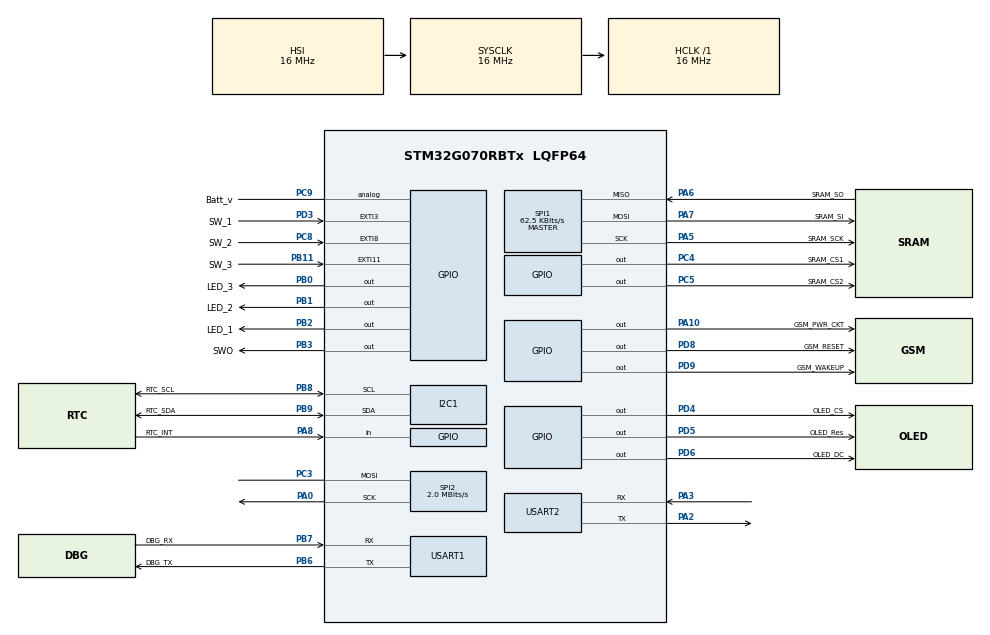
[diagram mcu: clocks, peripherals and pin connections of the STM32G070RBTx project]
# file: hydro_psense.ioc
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Mcu.Family=STM32G0
Mcu.Name=STM32G070RBTx
Mcu.Package=LQFP64
NVIC.SPI1_IRQn=true\:0\:0\:false\:false\:true\:true\:true\:true
PA0.Mode=Simplex_Bidirectional_Master
PA0.Signal=SPI2_SCK
PA10.GPIO_FMPA10=__NULL
PA10.GPIO_Label=GSM_PWR_CKT
PA10.GPIO_PuPd=GPIO_NOPULL
PA10.PinState=GPIO_PIN_SET
PA10.Signal=GPIO_Output
PA13.Mode=Serial_Wire
PA13.Signal=SYS_SWDIO
PA14-BOOT0.Mode=Serial_Wire
PA14-BOOT0.Signal=SYS_SWCLK
PA2.GPIO_ModeDefaultPP=GPIO_MODE_AF_PP
PA2.GPIO_PuPd=GPIO_NOPULL
PA2.GPIO_Speed=GPIO_SPEED_FREQ_LOW
PA2.Mode=Asynchronous
PA2.PinState=GPIO_PIN_RESET
PA2.Signal=USART2_TX
PA3.GPIO_ModeDefaultPP=GPIO_MODE_AF_PP
PA3.GPIO_PuPd=GPIO_NOPULL
PA3.GPIO_Speed=GPIO_SPEED_FREQ_LOW
PA3.Mode=Asynchronous
PA3.PinState=GPIO_PIN_RESET
PA3.Signal=USART2_RX
PA5.GPIO_Label=SRAM_SCK
PA5.Mode=Full_Duplex_Master
PA5.Signal=SPI1_SCK
PA6.GPIO_Label=SRAM_SO
PA6.Mode=Full_Duplex_Master
PA6.Signal=SPI1_MISO
PA7.GPIO_Label=SRAM_SI
PA7.Mode=Full_Duplex_Master
PA7.Signal=SPI1_MOSI
PA8.GPIO_Label=RTC_INT
PA8.Signal=GPIO_Input
PB0.GPIO_Label=LED_3
PB0.PinState=GPIO_PIN_SET
PB0.Signal=GPIO_Output
PB1.GPIO_Label=LED_2
PB1.PinState=GPIO_PIN_RESET
PB1.Signal=GPIO_Output
PB11.GPIO_Label=SW_3
PB11.Signal=GPXTI11
PB2.GPIO_Label=LED_1
PB2.PinState=GPIO_PIN_RESET
PB2.Signal=GPIO_Output
PB3.GPIO_Label=SWO
PB3.Signal=GPIO_Output
PB6.GPIO_Label=DBG_TX
PB6.Mode=Asynchronous
PB6.Signal=USART1_TX
PB7.GPIO_Label=DBG_RX
PB7.Mode=Asynchronous
PB7.Signal=USART1_RX
PB8.GPIO_Label=RTC_SCL
PB8.Mode=I2C
PB8.Signal=I2C1_SCL
PB9.GPIO_Label=RTC_SDA
PB9.Mode=I2C
PB9.Signal=I2C1_SDA
PC14-OSC32_IN\ (PC14).Signal=RCC_OSC32_IN
PC3.Mode=Simplex_Bidirectional_Master
PC3.Signal=SPI2_MOSI
PC4.GPIO_Label=SRAM_CS1
PC4.Signal=GPIO_Output
PC5.GPIO_Label=SRAM_CS2
PC5.Signal=GPIO_Output
PC8.GPIO_Label=SW_2
PC8.Signal=GPXTI8
PC9.GPIO_Label=Batt_v
PC9.Signal=GPIO_Analog
PD3.GPIO_Label=SW_1
PD3.Signal=GPXTI3
PD4.GPIO_Label=OLED_CS
PD4.Signal=GPIO_Output
PD5.GPIO_Label=OLED_Res
PD5.Signal=GPIO_Output
PD6.GPIO_Label=OLED_DC
PD6.Signal=GPIO_Output
PD8.GPIO_Label=GSM_RESET
PD8.PinState=GPIO_PIN_SET
PD8.Signal=GPIO_Output
PD9.GPIO_Label=GSM_WAKEUP
PD9.PinState=GPIO_PIN_SET
PD9.Signal=GPIO_Output
PF0-OSC_IN\ (PF0).Mode=HSE-External-Oscillator
PF0-OSC_IN\ (PF0).Signal=RCC_OSC_IN
PF1-OSC_OUT\ (PF1).Mode=HSE-External-Oscillator
PF1-OSC_OUT\ (PF1).Signal=RCC_OSC_OUT
ProjectManager.HeapSize=0x200
ProjectManager.StackSize=0x400
ProjectManager.TargetToolchain=STM32CubeIDE
RCC.AHBFreq_Value=16000000
RCC.CortexFreq_Value=16000000
RCC.EXTERNAL_CLOCK_VALUE=48000
RCC.HCLKFreq_Value=16000000
RCC.HSE_VALUE=8000000
RCC.HSI_VALUE=16000000
RCC.LSE_VALUE=32768
RCC.SYSCLKFreq_VALUE=16000000
RCC.VCOOutputFreq_Value=128000000
SPI1.BaudRatePrescaler=SPI_BAUDRATEPRESCALER_256
SPI1.CalculateBaudRate=62.5 KBits/s
SPI1.DataSize=SPI_DATASIZE_8BIT
SPI1.Direction=SPI_DIRECTION_2LINES
SPI1.Mode=SPI_MODE_MASTER
SPI1.NSSPMode=SPI_NSS_PULSE_DISABLE
SPI1.VirtualType=VM_MASTER
SPI2.BaudRatePrescaler=SPI_BAUDRATEPRESCALER_8
SPI2.CalculateBaudRate=2.0 MBits/s
SPI2.DataSize=SPI_DATASIZE_8BIT
SPI2.Direction=SPI_DIRECTION_1LINE
SPI2.Mode=SPI_MODE_MASTER
SPI2.VirtualType=VM_MASTER
USART1.VirtualMode-Asynchronous=VM_ASYNC
USART2.VirtualMode-Asynchronous=VM_ASYNC
VP_SYS_VS_DBSignals.Mode=DisableDeadBatterySignals
board=custom

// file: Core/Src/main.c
/* USER CODE BEGIN Header */
/**
  ******************************************************************************
  * @file           : main.c
  * @brief          : Main program body
  ******************************************************************************
  * @attention
  *
  * Copyright (c) 2024 STMicroelectronics.
  * All rights reserved.
  *
  * This software is licensed under terms that can be found in the LICENSE file
  * in the root directory of this software component.
  * If no LICENSE file comes with this software, it is provided AS-IS.
  *
  ******************************************************************************
  */
/* USER CODE END Header */
#include "main.h"

/* USER CODE BEGIN Includes */
#include <stdlib.h>
#include <stdio.h>
#include "string.h"
#include "ssd1306.h"
#include "ssd1306_tests.h"
#include "ssd1306_conf.h"
#include "ssd1306_fonts.h"
#include <stdlib.h> // For itoa function
#include "Bitmap.h";
/* USER CODE END Includes */

/* USER CODE BEGIN PD */
#define MAX_MQTT_RSP_LENGTH 500 // bytes
/* MPM3801A I2C address */
//#define MPM3801A_ADDRESS 0x28
#define DS3231_ADDRESS 0x68 << 1

/* USER CODE END PD */

I2C_HandleTypeDef hi2c1;

SPI_HandleTypeDef hspi1;
SPI_HandleTypeDef hspi2;

UART_HandleTypeDef huart1;
UART_HandleTypeDef huart2;

/* USER CODE BEGIN PV */
volatile unsigned int rx_buf_indx = 0;
volatile char ch = '\0';
volatile char rx_buf[MAX_MQTT_RSP_LENGTH] = {'\0'};

uint8_t time_data[7];
uint16_t pressure = 0;

//Temp value
char units[]="Units";
char bar[]="-> 1)Bar";
char psi[]="   2)PSI";
char kg[]= "   3)Kg/cm";
char sq[]=    "2";
char hmode[]="Mode";
char hmode1[]="-> 1)Auto";
char hmode2[]="   2)Manual";
char tank[]= "Equipment No. = 12354684116";

// AT Commands
uint8_t AT[] = "AT\r";
uint8_t ATE[] = "ATE1\r";
uint8_t ATQ[] = "ATQ0\r";
uint8_t ATI[] = "ATI\r";
uint8_t SET_AT_CREG[] = "AT+CREG=1\r";
uint8_t GET_AT_CREG[] = "AT+CREG?\r";
//uint8_t SET_AT_CGACT[] = "AT+CGACT=1\r";  // NOTE: Sending this returns CME ERROR: 129
uint8_t GET_AT_CGACT[] = "AT+CGACT?\r";
uint8_t *SET_AT_HUBBLEREG = "";
uint8_t GET_AT_HUBBLEREG[] = "AT+HUBBLEREG?\r";
//uint8_t *AT_MQTTCREATE = "";
//uint8_t AT_MQTTCREATE[] = "AT+MQTTCREATE=\"broker.mqtt.cool\",1883,\"DEF_DEVICE\",250,0,0\r";
uint8_t AT_MQTTCREATE[100];
//uint8_t *AT_MQTTCONN = "";
uint8_t AT_MQTTCONN[50];

// Variable related to MQTT connections
const char *mqtt_broker = "broker.mqtt.cool";
const unsigned short int mqtt_port = 1883;
//const char *device_id = "DEF_DEVICE";
const char *device_id = "TEST0";

unsigned short int mqtt_client_id = 0;     // this will be auto assigned and can be parsed from the response of AT+CGACT?
const char *mqtt_username  = "";
const char *mqtt_password  = "";

const char *hubble_account_id  = "";
const char *hubble_plan_id  = "";

char *tmp_ptr, *tmp_ptr2;
char conn_id[10];

unsigned int num;

// SRAM Variables
//uint8_t SRAM_READ  = 0x03;
//uint8_t SRAM_WRITE = 0x02;
//uint8_t RDMR_SRAM[2]  = {0x05, 0x0};
//uint8_t WRMR_SRAM  = 0x01;
//uint8_t SRAM_ReadData[260] = {0x03, 0x00, 0x00, 0x00};		// 1st index = command to read. 2nd, 3rd and 4th forms 24bit long address
//uint8_t SRAM_WriteData[260] = {0x02, 0x00, 0x00, 0x00};		// 1st index = command to write. 2nd, 3rd and 4th forms 24bit long address

/* USER CODE END PV */

void SystemClock_Config(void);
static void MX_GPIO_Init(void);
static void MX_I2C1_Init(void);
static void MX_SPI1_Init(void);
static void MX_USART1_UART_Init(void);
static void MX_USART2_UART_Init(void);
static void MX_SPI2_Init(void);
/* USER CODE BEGIN PFP */
void Read_RTC_Time(I2C_HandleTypeDef *hi2c1, uint8_t *data);
void ConvertToReadableTime(uint8_t* buffer);
//void Read_Pressure_Sensor(I2C_HandleTypeDef *hi2c1, uint16_t *pressure);

void LTE_c16qs_Init();
void LTE_c16qs_Reset();
void LTE_c16qs_TurnOff();

signed short int connect_mqtt_network(char *host, unsigned short int port, char *client_id, unsigned short int keep_alive);

/* USER CODE END PFP */

/* USER CODE BEGIN 0 */
/* USER CODE BEGIN 0 */
void HAL_UART_RxCpltCallback(UART_HandleTypeDef *huart){
	if(huart->Instance == USART2){
		rx_buf[rx_buf_indx] = ch;
		rx_buf_indx++;

		/*if(rx_buf_indx >= MAX_MQTT_RSP_LENGTH-1){
			HAL_UART_Transmit(&huart1,(uint8_t *)rx_buf, sizeof(rx_buf), 100);
			memset(rx_buf, 0, sizeof(rx_buf));
			rx_buf_indx = 0;
		}*/
		HAL_UART_Receive_IT(&huart2, (uint8_t*)&ch, 1);
	}
}

// MQTT Functions
signed short int connect_mqtt_network(char *host, unsigned short int port, char *client_id, unsigned short int keep_alive){
		memset(rx_buf, '\0', sizeof(rx_buf));
		rx_buf_indx = 0;

		HAL_UART_Transmit(&huart1,(uint8_t *)ATE, sizeof(ATE), 10);  // In PROTO, AT commands should be sent on huart2
		//while(!strstr(buf, "OK") || !strstr(buf, "ERROR")){}
		while(!strstr(rx_buf, "OK\r\n")){}
		//while(!strstr(buf, "OK")){}
		HAL_UART_Transmit(&huart2,(uint8_t *)rx_buf, strlen(rx_buf), 10);    // In PROTO, this should be sent on huart1 = DBG_UART. if required

		memset(rx_buf, '\0', sizeof(rx_buf));
		rx_buf_indx = 0;
		//HAL_UART_Transmit(&huart2,(uint8_t *)ATQ, sizeof(ATI), 10);  // In PROTO, AT commands should be sent on huart2
		HAL_UART_Transmit(&huart1,(uint8_t *)ATQ, sizeof(ATI), 10);  // In PROTO, AT commands should be sent on huart2
		//while(!strstr(buf, "OK") || !strstr(buf, "ERROR")){}
		while(!strstr(rx_buf, "OK\r\n")){}
		//while(!strstr(buf, "OK")){}
		HAL_UART_Transmit(&huart2,(uint8_t *)rx_buf, strlen(rx_buf), 10);    // In PROTO, this should be sent on huart1 = DBG_UART. if required

		memset(rx_buf, '\0', sizeof(rx_buf));
		rx_buf_indx = 0;
		//HAL_UART_Transmit(&huart2,(uint8_t *)ATI, sizeof(ATQ), 10);  // In PROTO, AT commands should be sent on huart2
		HAL_UART_Transmit(&huart1,(uint8_t *)ATI, sizeof(ATQ), 10);  // In PROTO, AT commands should be sent on huart2
		//while(!strstr(buf, "OK") || !strstr(buf, "ERROR")){}
		while(!strstr(rx_buf, "OK\r\n")){}
		//while(!strstr(buf, "OK")){}
		HAL_UART_Transmit(&huart2,(uint8_t *)rx_buf, strlen(rx_buf), 100);    // In PROTO, this should be sent on huart1 = DBG_UART. if required

		memset(rx_buf, '\0', sizeof(rx_buf));
		rx_buf_indx = 0;
		HAL_UART_Transmit(&huart1,(uint8_t *)SET_AT_CREG, sizeof(SET_AT_CREG), 10);  // In PROTO, AT commands should be sent on huart2
		while(!(strstr(rx_buf, "OK\r\n") || strstr(rx_buf, "ERROR\r\n"))){}
		if(strstr(rx_buf, "ERROR\r\n")){
			HAL_UART_Transmit(&huart2,(uint8_t *)rx_buf, strlen(rx_buf), 10);
			return -1;
		}
		HAL_UART_Transmit(&huart2,(uint8_t *)rx_buf, strlen(rx_buf), 10);

		// get AT+CREG? and compare response with expectations  // TODO: what are the expectations?
		memset(rx_buf, '\0', sizeof(rx_buf));
		rx_buf_indx = 0;
		HAL_UART_Transmit(&huart1,(uint8_t *)GET_AT_CREG, strlen(GET_AT_CREG), 10);  // In PROTO, AT commands should be sent on huart2
		while(!(strstr(rx_buf, "OK\r\n") || strstr(rx_buf, "ERROR\r\n"))){}
		if(strstr(rx_buf, "ERROR\r\n")){
			HAL_UART_Transmit(&huart2,(uint8_t *)rx_buf, strlen(rx_buf), 10);
			return -1;
		}
		HAL_UART_Transmit(&huart2,(uint8_t *)rx_buf, strlen(rx_buf), 100);

		// get AT+CGACT? and check that the 'state' = 1 active)
		memset(rx_buf, '\0', sizeof(rx_buf));
		rx_buf_indx = 0;
		HAL_UART_Transmit(&huart1,(uint8_t *)GET_AT_CGACT, sizeof(GET_AT_CGACT), 100);  // In PROTO, AT commands should be sent on huart2
		while(!(strstr(rx_buf, "OK\r\n") || strstr(rx_buf, "ERROR\r\n"))){}
		if(strstr(rx_buf, "ERROR\r\n")){
			HAL_UART_Transmit(&huart2,(uint8_t *)rx_buf, strlen(rx_buf), 100);
			return -1;
		}
		HAL_UART_Transmit(&huart2,(uint8_t *)rx_buf, strlen(rx_buf), 100);

		// get AT+HUBBLEREG?
		memset(rx_buf, '\0', sizeof(rx_buf));
		rx_buf_indx = 0;
		HAL_UART_Transmit(&huart1,(uint8_t *)GET_AT_HUBBLEREG, sizeof(GET_AT_HUBBLEREG), 100);  // In PROTO, AT commands should be sent on huart2
		while(!(strstr(rx_buf, "OK\r\n") || strstr(rx_buf, "ERROR\r\n"))){}
		if(strstr(rx_buf, "ERROR\r\n") || strstr(rx_buf, "UNREGISTERED")){
			HAL_UART_Transmit(&huart2,(uint8_t *)rx_buf, strlen(rx_buf), 100);
			return -1;
		}
		HAL_UART_Transmit(&huart2,(uint8_t *)rx_buf, strlen(rx_buf), 100);

		// set AT+MQTTCREATE
		memset(rx_buf, '\0', sizeof(rx_buf));
		rx_buf_indx = 0;
		sprintf(AT_MQTTCREATE, "AT+MQTTCREATE=\"%s\",%0d,\"%s\",%0d,0,0\r", mqtt_broker, mqtt_port, device_id, 250);
		//strcpy(AT_MQTTCREATE, "AT+MQTTCREATE=\"broker.mqtt.cool\",1883,\"DEF_DEVICE\",250,0,0\r");
		//HAL_UART_Transmit(&huart2,(uint8_t *)AT_MQTTCREATE, sizeof(AT_MQTTCREATE), 200);
		HAL_UART_Transmit(&huart1,(uint8_t *)AT_MQTTCREATE, sizeof(AT_MQTTCREATE), 100);
		while(!(strstr(rx_buf, "OK\r\n") || strstr(rx_buf, "ERROR\r\n"))){}
		if(strstr(rx_buf, "ERROR\r\n")){
			HAL_UART_Transmit(&huart2,(uint8_t *)rx_buf, strlen(rx_buf), 100);
			return -1;
		}
		HAL_UART_Transmit(&huart2,(uint8_t *)rx_buf, strlen(rx_buf), 100);

		tmp_ptr = strrchr(rx_buf, ':');
		HAL_UART_Transmit(&huart2,(uint8_t *)tmp_ptr, strlen(tmp_ptr), 100);

		tmp_ptr2 = strchr(rx_buf, ':');
		HAL_UART_Transmit(&huart2,(uint8_t *)tmp_ptr2, strlen(tmp_ptr2), 100);

		strncpy(conn_id, tmp_ptr2+2, 1);  // TODO: may need to update this logic, so that it can parse longer digits od client_id also
		conn_id[1] = '\0';
		HAL_UART_Transmit(&huart2,(uint8_t *)conn_id, strlen(conn_id), 100);

		mqtt_client_id = atoi(conn_id);

		// AT+MQTTCONN
		memset(rx_buf, '\0', sizeof(rx_buf));
		rx_buf_indx = 0;
		sprintf(AT_MQTTCONN, "AT+MQTTCONN=%d\r", mqtt_client_id);
		//HAL_UART_Transmit(&huart2,(uint8_t *)AT_MQTTCONN, sizeof(AT_MQTTCONN), 100);
		HAL_UART_Transmit(&huart1,(uint8_t *)AT_MQTTCONN, strlen(AT_MQTTCONN), 100);
		while(!(strstr(rx_buf, "OK\r\n") || strstr(rx_buf, "ERROR\r\n"))){}
		if(strstr(rx_buf, "ERROR\r\n")){
			HAL_UART_Transmit(&huart2,(uint8_t *)rx_buf, strlen(rx_buf), 100);
			return -1;
		}
		HAL_UART_Transmit(&huart2,(uint8_t *)rx_buf, strlen(rx_buf), 100);
		if(strstr(rx_buf, "CONNECTED")){
			return 1;
		}
		else{
			return 0;
		}
}

/* USER CODE END 0 */

int main(void)
{

  /* MCU Configuration--------------------------------------------------------*/

  /* Reset of all peripherals, Initializes the Flash interface and the Systick. */
  HAL_Init();

  /* Configure the system clock */
  SystemClock_Config();

  /* Initialize all configured peripherals */
  MX_GPIO_Init();
  MX_I2C1_Init();
  MX_SPI1_Init();
  MX_USART1_UART_Init();
  MX_USART2_UART_Init();
  MX_SPI2_Init();
  /* USER CODE BEGIN 2 */

  HAL_UART_Receive_IT(&huart2, (uint8_t*)&ch, 1);
  strcpy(rx_buf, "starting...\r\n");
  HAL_UART_Transmit(&huart1,(uint8_t *)rx_buf, strlen(rx_buf), 100);

  // Initialize Cavli Module
  //LTE_c16qs_Init();
  GSM_Init();
   // Send AT command
      GSM_SendCommand("ATE1\r\n");
      HAL_Delay(1000);  // Delay for 1 second
      GSM_ReadResponse();
      GSM_SendCommand("AT\r\n");
      HAL_Delay(1000);  // Delay for 1 second
      GSM_ReadResponse();
      GSM_SendCommand("AT+CIMI\r\n");
      HAL_Delay(1000);  // Delay for 1 second
      GSM_ReadResponse();

/*
  // Reading RDMR from SRAM1 //
  HAL_GPIO_WritePin(SRAM_CS1_GPIO_Port, SRAM_CS1_Pin, GPIO_PIN_SET);	// Setting the NSS Pin High, by default (NSS Pin is Active Low)
  HAL_GPIO_WritePin(SRAM_CS1_GPIO_Port, SRAM_CS1_Pin, GPIO_PIN_RESET);	// Pull the NSS Pin Low, to start SPI Communication
  HAL_SPI_Receive(&hspi1, RDMR_SRAM, sizeof(RDMR_SRAM), 20);
  HAL_GPIO_WritePin(SRAM_CS1_GPIO_Port, SRAM_CS1_Pin, GPIO_PIN_SET);	// Push the NSS Pin High, to stop SPI Communication
  HAL_Delay(100);

  for(int i=4; i<260; i++){
	  SRAM_WriteData[i] = i-4; // storing 256Bytes into an array. This will be used later to Write an entire page
  }

  HAL_GPIO_WritePin(SRAM_CS1_GPIO_Port, SRAM_CS1_Pin, GPIO_PIN_RESET);	// Pull the NSS Pin Low, to start SPI Communication
  HAL_SPI_Transmit(&hspi1, SRAM_WriteData, sizeof(SRAM_WriteData)-4, 200);
  HAL_GPIO_WritePin(SRAM_CS1_GPIO_Port, SRAM_CS1_Pin, GPIO_PIN_SET);	// Push the NSS Pin High, to stop SPI Communication
  HAL_Delay(5000);

  for(int i=4; i<260; i++){
	  SRAM_ReadData[i] = 0xff; // storing 256Bytes into an array. This will be used later to Write an entire page
  }

  HAL_GPIO_WritePin(SRAM_CS1_GPIO_Port, SRAM_CS1_Pin, GPIO_PIN_RESET);	// Pull the NSS Pin Low, to start SPI Communication
  HAL_SPI_Receive(&hspi1, SRAM_ReadData, sizeof(SRAM_ReadData)-4, 200);
  HAL_GPIO_WritePin(SRAM_CS1_GPIO_Port, SRAM_CS1_Pin, GPIO_PIN_SET);	// Push the NSS Pin High, to stop SPI Communication
  HAL_Delay(5000);
*/
  // SRAM TEST
  uint8_t write_data[] = {0x11, 0x22, 0x33, 0x44};
  uint8_t read_data[4];

  SRAM_Write(0x000000, write_data, sizeof(write_data));
  SRAM_Read(0x000000, read_data, sizeof(read_data));

  ssd1306_Init();
  ssd1306_DrawRectangle(0,0,127,63,White);

  ssd1306_SetCursor(47, 3);
  ssd1306_WriteString(units,Font_6x8, White);
  ssd1306_Line(1, 11, 127, 11, White);			//LINE And Box

  ssd1306_SetCursor(3, 14);                     //Bar
  ssd1306_WriteString(bar,Font_6x8, White);

  ssd1306_SetCursor(3, 24);                     //PSI
  ssd1306_WriteString(psi,Font_6x8, White);

  ssd1306_SetCursor(4, 34);                     //Kg/cm2
  ssd1306_WriteString(kg,Font_6x8, White);

  ssd1306_DrawPixel(63,33, White);

  ssd1306_SetCursor(63, 30);                     //Square
  ssd1306_WriteString(sq,Font_6x8, White);

  ssd1306_UpdateScreen();

  // power on Cavli Module
  //HAL_GPIO_WritePin(GPIOA, GSM_PWR_CKT_Pin, GPIO_PIN_SET);   // Enable for PROTO
/*
  if(connect_mqtt_network(mqtt_broker, mqtt_port, device_id, 250) == 1){
	  HAL_UART_Transmit(&huart2,(uint8_t *)"Network Connected", strlen("Network Connected"), 100);
  }
  else{
	  HAL_UART_Transmit(&huart2,(uint8_t *)"No Network Connection", strlen("No Network Connection"), 100);
  }
*/

  /* USER CODE END 2 */

  /* Infinite loop */
  /* USER CODE BEGIN WHILE */
  while (1)
  {
	  Read_RTC_Time(&hi2c1, &time_data);
	  ConvertToReadableTime(time_data);
	  Read_Pressure_Sensor(&hi2c1, &pressure);
	  HAL_Delay(1000);

    /* USER CODE END WHILE */

  }
}

void SystemClock_Config(void)
{
  RCC_OscInitTypeDef RCC_OscInitStruct = {0};
  RCC_ClkInitTypeDef RCC_ClkInitStruct = {0};

  /** Configure the main internal regulator output voltage
  */
  HAL_PWREx_ControlVoltageScaling(PWR_REGULATOR_VOLTAGE_SCALE1);

  /** Initializes the RCC Oscillators according to the specified parameters
  * in the RCC_OscInitTypeDef structure.
  */
  RCC_OscInitStruct.OscillatorType = RCC_OSCILLATORTYPE_HSI;
  RCC_OscInitStruct.HSIState = RCC_HSI_ON;
  RCC_OscInitStruct.HSIDiv = RCC_HSI_DIV1;
  RCC_OscInitStruct.HSICalibrationValue = RCC_HSICALIBRATION_DEFAULT;
  RCC_OscInitStruct.PLL.PLLState = RCC_PLL_NONE;
  if (HAL_RCC_OscConfig(&RCC_OscInitStruct) != HAL_OK)
  {
    Error_Handler();
  }

  /** Initializes the CPU, AHB and APB buses clocks
  */
  RCC_ClkInitStruct.ClockType = RCC_CLOCKTYPE_HCLK|RCC_CLOCKTYPE_SYSCLK
                              |RCC_CLOCKTYPE_PCLK1;
  RCC_ClkInitStruct.SYSCLKSource = RCC_SYSCLKSOURCE_HSI;
  RCC_ClkInitStruct.AHBCLKDivider = RCC_SYSCLK_DIV1;
  RCC_ClkInitStruct.APB1CLKDivider = RCC_HCLK_DIV1;

  if (HAL_RCC_ClockConfig(&RCC_ClkInitStruct, FLASH_LATENCY_0) != HAL_OK)
  {
    Error_Handler();
  }
}

static void MX_I2C1_Init(void)
{

  hi2c1.Instance = I2C1;
  hi2c1.Init.Timing = 0x00303D5B;
  hi2c1.Init.OwnAddress1 = 0;
  hi2c1.Init.AddressingMode = I2C_ADDRESSINGMODE_7BIT;
  hi2c1.Init.DualAddressMode = I2C_DUALADDRESS_DISABLE;
  hi2c1.Init.OwnAddress2 = 0;
  hi2c1.Init.OwnAddress2Masks = I2C_OA2_NOMASK;
  hi2c1.Init.GeneralCallMode = I2C_GENERALCALL_DISABLE;
  hi2c1.Init.NoStretchMode = I2C_NOSTRETCH_DISABLE;
  if (HAL_I2C_Init(&hi2c1) != HAL_OK)
  {
    Error_Handler();
  }

  /** Configure Analogue filter
  */
  if (HAL_I2CEx_ConfigAnalogFilter(&hi2c1, I2C_ANALOGFILTER_ENABLE) != HAL_OK)
  {
    Error_Handler();
  }

  /** Configure Digital filter
  */
  if (HAL_I2CEx_ConfigDigitalFilter(&hi2c1, 0) != HAL_OK)
  {
    Error_Handler();
  }

}

static void MX_SPI1_Init(void)
{

  /* SPI1 parameter configuration*/
  hspi1.Instance = SPI1;
  hspi1.Init.Mode = SPI_MODE_MASTER;
  hspi1.Init.Direction = SPI_DIRECTION_2LINES;
  hspi1.Init.DataSize = SPI_DATASIZE_8BIT;
  hspi1.Init.CLKPolarity = SPI_POLARITY_LOW;
  hspi1.Init.CLKPhase = SPI_PHASE_1EDGE;
  hspi1.Init.NSS = SPI_NSS_SOFT;
  hspi1.Init.BaudRatePrescaler = SPI_BAUDRATEPRESCALER_256;
  hspi1.Init.FirstBit = SPI_FIRSTBIT_MSB;
  hspi1.Init.TIMode = SPI_TIMODE_DISABLE;
  hspi1.Init.CRCCalculation = SPI_CRCCALCULATION_DISABLE;
  hspi1.Init.CRCPolynomial = 7;
  hspi1.Init.CRCLength = SPI_CRC_LENGTH_DATASIZE;
  hspi1.Init.NSSPMode = SPI_NSS_PULSE_DISABLE;
  if (HAL_SPI_Init(&hspi1) != HAL_OK)
  {
    Error_Handler();
  }

}

static void MX_SPI2_Init(void)
{

  /* SPI2 parameter configuration*/
  hspi2.Instance = SPI2;
  hspi2.Init.Mode = SPI_MODE_MASTER;
  hspi2.Init.Direction = SPI_DIRECTION_1LINE;
  hspi2.Init.DataSize = SPI_DATASIZE_8BIT;
  hspi2.Init.CLKPolarity = SPI_POLARITY_LOW;
  hspi2.Init.CLKPhase = SPI_PHASE_1EDGE;
  hspi2.Init.NSS = SPI_NSS_SOFT;
  hspi2.Init.BaudRatePrescaler = SPI_BAUDRATEPRESCALER_8;
  hspi2.Init.FirstBit = SPI_FIRSTBIT_MSB;
  hspi2.Init.TIMode = SPI_TIMODE_DISABLE;
  hspi2.Init.CRCCalculation = SPI_CRCCALCULATION_DISABLE;
  hspi2.Init.CRCPolynomial = 7;
  hspi2.Init.CRCLength = SPI_CRC_LENGTH_DATASIZE;
  hspi2.Init.NSSPMode = SPI_NSS_PULSE_ENABLE;
  if (HAL_SPI_Init(&hspi2) != HAL_OK)
  {
    Error_Handler();
  }

}

static void MX_USART1_UART_Init(void)
{

  huart1.Instance = USART1;
  huart1.Init.BaudRate = 115200;
  huart1.Init.WordLength = UART_WORDLENGTH_8B;
  huart1.Init.StopBits = UART_STOPBITS_1;
  huart1.Init.Parity = UART_PARITY_NONE;
  huart1.Init.Mode = UART_MODE_TX_RX;
  huart1.Init.HwFlowCtl = UART_HWCONTROL_NONE;
  huart1.Init.OverSampling = UART_OVERSAMPLING_16;
  huart1.Init.OneBitSampling = UART_ONE_BIT_SAMPLE_DISABLE;
  huart1.Init.ClockPrescaler = UART_PRESCALER_DIV1;
  huart1.AdvancedInit.AdvFeatureInit = UART_ADVFEATURE_NO_INIT;
  if (HAL_UART_Init(&huart1) != HAL_OK)
  {
    Error_Handler();
  }
  if (HAL_UARTEx_SetTxFifoThreshold(&huart1, UART_TXFIFO_THRESHOLD_1_8) != HAL_OK)
  {
    Error_Handler();
  }
  if (HAL_UARTEx_SetRxFifoThreshold(&huart1, UART_RXFIFO_THRESHOLD_1_8) != HAL_OK)
  {
    Error_Handler();
  }
  if (HAL_UARTEx_DisableFifoMode(&huart1) != HAL_OK)
  {
    Error_Handler();
  }

}

static void MX_USART2_UART_Init(void)
{

  huart2.Instance = USART2;
  huart2.Init.BaudRate = 115200;
  huart2.Init.WordLength = UART_WORDLENGTH_8B;
  huart2.Init.StopBits = UART_STOPBITS_1;
  huart2.Init.Parity = UART_PARITY_NONE;
  huart2.Init.Mode = UART_MODE_TX_RX;
  huart2.Init.HwFlowCtl = UART_HWCONTROL_NONE;
  huart2.Init.OverSampling = UART_OVERSAMPLING_16;
  huart2.Init.OneBitSampling = UART_ONE_BIT_SAMPLE_DISABLE;
  huart2.Init.ClockPrescaler = UART_PRESCALER_DIV1;
  huart2.AdvancedInit.AdvFeatureInit = UART_ADVFEATURE_NO_INIT;
  if (HAL_UART_Init(&huart2) != HAL_OK)
  {
    Error_Handler();
  }
  if (HAL_UARTEx_SetTxFifoThreshold(&huart2, UART_TXFIFO_THRESHOLD_1_8) != HAL_OK)
  {
    Error_Handler();
  }
  if (HAL_UARTEx_SetRxFifoThreshold(&huart2, UART_RXFIFO_THRESHOLD_1_8) != HAL_OK)
  {
    Error_Handler();
  }
  if (HAL_UARTEx_DisableFifoMode(&huart2) != HAL_OK)
  {
    Error_Handler();
  }

}

static void MX_GPIO_Init(void)
{
  GPIO_InitTypeDef GPIO_InitStruct = {0};

  /* GPIO Ports Clock Enable */
  __HAL_RCC_GPIOC_CLK_ENABLE();
  __HAL_RCC_GPIOF_CLK_ENABLE();
  __HAL_RCC_GPIOA_CLK_ENABLE();
  __HAL_RCC_GPIOB_CLK_ENABLE();
  __HAL_RCC_GPIOD_CLK_ENABLE();

  /*Configure GPIO pin Output Level */
  HAL_GPIO_WritePin(GPIOC, SRAM_CS1_Pin|SRAM_CS2_Pin, GPIO_PIN_RESET);

  /*Configure GPIO pin Output Level */
  HAL_GPIO_WritePin(LED_3_GPIO_Port, LED_3_Pin, GPIO_PIN_SET);

  /*Configure GPIO pin Output Level */
  HAL_GPIO_WritePin(GPIOB, LED_2_Pin|LED_1_Pin|SWO_Pin, GPIO_PIN_RESET);

  /*Configure GPIO pin Output Level */
  HAL_GPIO_WritePin(GPIOD, GSM_RESET_Pin|GSM_WAKEUP_Pin, GPIO_PIN_SET);

  /*Configure GPIO pin Output Level */
  HAL_GPIO_WritePin(GSM_PWR_CKT_GPIO_Port, GSM_PWR_CKT_Pin, GPIO_PIN_SET);

  /*Configure GPIO pin Output Level */
  HAL_GPIO_WritePin(GPIOD, OLED_CS_Pin|OLED_Res_Pin|OLED_DC_Pin, GPIO_PIN_RESET);

  /*Configure GPIO pins : SRAM_CS1_Pin SRAM_CS2_Pin */
  GPIO_InitStruct.Pin = SRAM_CS1_Pin|SRAM_CS2_Pin;
  GPIO_InitStruct.Mode = GPIO_MODE_OUTPUT_PP;
  GPIO_InitStruct.Pull = GPIO_NOPULL;
  GPIO_InitStruct.Speed = GPIO_SPEED_FREQ_LOW;
  HAL_GPIO_Init(GPIOC, &GPIO_InitStruct);

  /*Configure GPIO pins : LED_3_Pin LED_2_Pin LED_1_Pin SWO_Pin */
  GPIO_InitStruct.Pin = LED_3_Pin|LED_2_Pin|LED_1_Pin|SWO_Pin;
  GPIO_InitStruct.Mode = GPIO_MODE_OUTPUT_PP;
  GPIO_InitStruct.Pull = GPIO_NOPULL;
  GPIO_InitStruct.Speed = GPIO_SPEED_FREQ_LOW;
  HAL_GPIO_Init(GPIOB, &GPIO_InitStruct);

  /*Configure GPIO pin : SW_3_Pin */
  GPIO_InitStruct.Pin = SW_3_Pin;
  GPIO_InitStruct.Mode = GPIO_MODE_IT_RISING;
  GPIO_InitStruct.Pull = GPIO_NOPULL;
  HAL_GPIO_Init(SW_3_GPIO_Port, &GPIO_InitStruct);

  /*Configure GPIO pin : RTC_INT_Pin */
  GPIO_InitStruct.Pin = RTC_INT_Pin;
  GPIO_InitStruct.Mode = GPIO_MODE_INPUT;
  GPIO_InitStruct.Pull = GPIO_NOPULL;
  HAL_GPIO_Init(RTC_INT_GPIO_Port, &GPIO_InitStruct);

  /*Configure GPIO pins : GSM_RESET_Pin GSM_WAKEUP_Pin OLED_CS_Pin OLED_Res_Pin
                           OLED_DC_Pin */
  GPIO_InitStruct.Pin = GSM_RESET_Pin|GSM_WAKEUP_Pin|OLED_CS_Pin|OLED_Res_Pin
                          |OLED_DC_Pin;
  GPIO_InitStruct.Mode = GPIO_MODE_OUTPUT_PP;
  GPIO_InitStruct.Pull = GPIO_NOPULL;
  GPIO_InitStruct.Speed = GPIO_SPEED_FREQ_LOW;
  HAL_GPIO_Init(GPIOD, &GPIO_InitStruct);

  /*Configure GPIO pin : GSM_PWR_CKT_Pin */
  GPIO_InitStruct.Pin = GSM_PWR_CKT_Pin;
  GPIO_InitStruct.Mode = GPIO_MODE_OUTPUT_PP;
  GPIO_InitStruct.Pull = GPIO_NOPULL;
  GPIO_InitStruct.Speed = GPIO_SPEED_FREQ_LOW;
  HAL_GPIO_Init(GSM_PWR_CKT_GPIO_Port, &GPIO_InitStruct);

  /*Configure GPIO pin : SW_2_Pin */
  GPIO_InitStruct.Pin = SW_2_Pin;
  GPIO_InitStruct.Mode = GPIO_MODE_IT_RISING;
  GPIO_InitStruct.Pull = GPIO_NOPULL;
  HAL_GPIO_Init(SW_2_GPIO_Port, &GPIO_InitStruct);

  /*Configure GPIO pin : Batt_v_Pin */
  GPIO_InitStruct.Pin = Batt_v_Pin;
  GPIO_InitStruct.Mode = GPIO_MODE_ANALOG;
  GPIO_InitStruct.Pull = GPIO_NOPULL;
  HAL_GPIO_Init(Batt_v_GPIO_Port, &GPIO_InitStruct);

  /*Configure GPIO pin : SW_1_Pin */
  GPIO_InitStruct.Pin = SW_1_Pin;
  GPIO_InitStruct.Mode = GPIO_MODE_IT_RISING;
  GPIO_InitStruct.Pull = GPIO_NOPULL;
  HAL_GPIO_Init(SW_1_GPIO_Port, &GPIO_InitStruct);

}

/* USER CODE BEGIN 4 */
/**
  * @brief Initialize the DS3231 RTC
  * @param None
  * @retval None
  */
void DS3231_Init(void)
{
  // Typically, no initialization is required for DS3231
}

/**
  * @brief Initialize the MPM3801A Pressure Sensor
  * @param None
  * @retval None
  */
void MPM3801A_Init(void)
{
  // Typically, no initialization is required for MPM3801A
}

/**
  * @brief Read RTC time and print it via USART1
  * @param None
  * @retval None
  */
//HAL_StatusTypeDef Read_RTC_Time(I2C_HandleTypeDef *hi2c1, uint8_t *data)
/*void Read_RTC_Time(I2C_HandleTypeDef *hi2c1, uint8_t *data)
{
  //uint8_t rtc_data[7];
  HAL_StatusTypeDef status;
  status = HAL_I2C_Mem_Read(hi2c1, DS3231_ADDRESS, 0x00, I2C_MEMADD_SIZE_8BIT, data, 7, HAL_MAX_DELAY);

  // Convert and print the time
  char buffer[50];
  snprintf(buffer, sizeof(buffer), "Time: %02x:%02x:%02x\n", data[2], data[1], data[0]);
  HAL_UART_Transmit(&huart1, (uint8_t*)buffer, strlen(buffer), HAL_MAX_DELAY);
  //return status;
}

void ConvertToReadableTime(uint8_t* buffer) {
  uint8_t seconds = ((buffer[0] >> 4) * 10) + (buffer[0] & 0x0F);
  uint8_t minutes = ((buffer[1] >> 4) * 10) + (buffer[1] & 0x0F);
  uint8_t hours = ((buffer[2] >> 4) * 10) + (buffer[2] & 0x0F);
  uint8_t day = ((buffer[3] >> 4) * 10) + (buffer[3] & 0x0F);
  uint8_t date = ((buffer[4] >> 4) * 10) + (buffer[4] & 0x0F);
  uint8_t month = ((buffer[5] >> 4) * 10) + (buffer[5] & 0x0F);
  uint8_t year = ((buffer[6] >> 4) * 10) + (buffer[6] & 0x0F);

  printf("Time: %02d:%02d:%02d Date: %02d-%02d-20%02d Day: %d\n", hours, minutes, seconds, date, month, year, day);
}*/
/**
  * @brief Read pressure sensor data and print it via USART1
  * @param None
  * @retval None
  */
//HAL_StatusTypeDef _Read_Pressure_Sensor(I2C_HandleTypeDef *hi2c1, float *pressure)
//void Read_RTC_Time(I2C_HandleTypeDef *hi2c1, uint8_t *data)
//void ConvertToReadableTime(uint8_t* buffer)
/*void Read_Pressure_Sensor(I2C_HandleTypeDef *hi2c1, uint16_t *pressure)
{
  uint8_t pressure_data[3];
  HAL_StatusTypeDef status;

    status = HAL_I2C_Mem_Read(hi2c1, MPM3801A_ADDRESS << 1, 0x00, I2C_MEMADD_SIZE_8BIT, pressure_data, 3, HAL_MAX_DELAY);
    if (status == HAL_OK)
    {
      uint32_t raw_pressure = (pressure_data[0] << 16) | (pressure_data[1] << 8) | pressure_data[2];
      *pressure = ((float)raw_pressure) / 4096.0f;  // Convert raw data to pressure value
      int32_t pressure_lo = ((int32_t)(pressure_data[0] << 16 | pressure_data[1] << 8 | pressure_data[2])) >> 4;
      char buffer[50];
      snprintf(buffer, sizeof(buffer), "Pressure: %ld Pa\n", pressure_lo);
      HAL_UART_Transmit(&huart1, (uint8_t*)buffer, strlen(buffer), HAL_MAX_DELAY);
    }
    else
    {
      char buffer[10] = "Failed";
      HAL_UART_Transmit(&huart1, (uint8_t*)buffer, strlen(buffer), HAL_MAX_DELAY);
    }

    //return status;
  //HAL_I2C_Mem_Read(&hi2c1, 0xC0, 0x00, I2C_MEMADD_SIZE_8BIT, pressure_data, 3, HAL_MAX_DELAY);

  // Convert and print the pressure
  //int32_t pressure_lo = ((int32_t)(pressure_data[0] << 16 | pressure_data[1] << 8 | pressure_data[2])) >> 4;
  //char buffer[50];
  //snprintf(buffer, sizeof(buffer), "Pressure: %ld Pa\n", pressure_lo);
  //HAL_UART_Transmit(&huart1, (uint8_t*)buffer, strlen(buffer), HAL_MAX_DELAY);
  //return status;
}
*/

/*void GSM_SendCommand(const char *cmd)
{
    HAL_UART_Transmit(&huart2, (uint8_t*)cmd, strlen(cmd), HAL_MAX_DELAY);
}

void GSM_ReadResponse(char *buffer, uint16_t size)
{
    HAL_UART_Receive(&huart2, (uint8_t*)buffer, size, HAL_MAX_DELAY);
}
*/

/**
  * @brief Initialize the Cavli C16QS LTE module
  * @param None
  * @retval None
  */
/*void LTE_c16qs_Init(void)
{

	// Power on the GSM module
	HAL_GPIO_WritePin(GSM_PWR_CKT_GPIO_Port, GSM_PWR_CKT_Pin, GPIO_PIN_RESET);
	HAL_Delay(1000); // Wait for the module to power on

	// Wake up the GSM module
	HAL_GPIO_WritePin(GSM_WAKEUP_GPIO_Port, GSM_WAKEUP_Pin, GPIO_PIN_RESET);
	HAL_Delay(500);
	HAL_GPIO_WritePin(GSM_WAKEUP_GPIO_Port, GSM_WAKEUP_Pin, GPIO_PIN_SET);

	// Reset the GSM module
	HAL_GPIO_WritePin(GSM_RESET_GPIO_Port, GSM_RESET_Pin, GPIO_PIN_SET);
	HAL_Delay(500);
	HAL_GPIO_WritePin(GSM_RESET_GPIO_Port, GSM_RESET_Pin, GPIO_PIN_RESET);
	HAL_Delay(2000);
	// 1. Drive GSM_PWR_CKT LOW, to power on the Cavli module
	//    GSM_PWR_CKT is configured with OUTPUT_LEVEL=HIGH. So, by default it is HIGH
    //HAL_GPIO_WritePin(GSM_PWR_CKT_GPIO_Port, GSM_PWR_CKT_Pin, GPIO_PIN_RESET);
	/*HAL_GPIO_WritePin(GSM_PWR_CKT_GPIO_Port, GSM_PWR_CKT_Pin, 1);
    HAL_Delay(500);
	// 2. wake it up by driving GSM_WAKEUP to LOW for at least 500ms (so, GSM_WAKEUP should be HIGH in normal conditions)
	//HAL_GPIO_WritePin(GSM_WAKEUP_GPIO_Port, GSM_WAKEUP_Pin, GPIO_PIN_RESET);
	//HAL_Delay(500);  // TODO: need to fine-tune this delay
	//HAL_GPIO_WritePin(GSM_WAKEUP_GPIO_Port, GSM_WAKEUP_Pin, GPIO_PIN_SET);
	HAL_GPIO_WritePin(GSM_WAKEUP_GPIO_Port, GSM_WAKEUP_Pin, 1);
	HAL_Delay(2000);  // TODO: need to fine-tune this delay
    */

	// Send a command to the GSM module
/*	GSM_SendCommand("ATI\r\n");

	// Read the response
	char response[100];
	GSM_ReadResponse(response, sizeof(response));
	while(!strstr(response, "OK\r\n")){
		GSM_ReadResponse(response, sizeof(response));
		snprintf(response, sizeof(response), "data: %ld\n", response);
	    HAL_UART_Transmit(&huart1,(uint8_t *)response, strlen(response), 10);
	}
	//snprintf(response, sizeof(response), "data: %s\n", response);
	HAL_UART_Transmit(&huart1,(uint8_t *)response, strlen(response), 10);
	// Print the response (depends on your debug method, e.g., to a serial monitor)
	printf("Response: %s\n", response);*/
	// For debug
	/*HAL_UART_Transmit(&huart1,(uint8_t *)rx_buf, strlen(rx_buf), 10);

	memset(rx_buf, '\0', sizeof(rx_buf));
	rx_buf_indx = 0;
	HAL_UART_Transmit(&huart1,(uint8_t *)AT, sizeof(AT), 10);  // for debug only
	HAL_UART_Transmit(&huart2,(uint8_t *)AT, sizeof(AT), 10);
	while(!strstr(rx_buf, "OK\r\n")){}
	HAL_UART_Transmit(&huart1,(uint8_t *)rx_buf, strlen(rx_buf), 10);
}
*/

/**
  * @brief Reset the Cavli C16QS LTE module
  * @param None
  * @retval None
  */
void LTE_c16qs_Reset(void)
{
	// (to reset Cavli module, drive GSM_RESET to Low for 500ms (so, GSM_RESET should be HIGH in normal conditions))
	HAL_GPIO_WritePin(GSM_RESET_GPIO_Port, GSM_RESET_Pin, GPIO_PIN_RESET);
	HAL_Delay(500);  // TODO: need to fine-tune this delay
	HAL_GPIO_WritePin(GSM_RESET_GPIO_Port, GSM_RESET_Pin, GPIO_PIN_SET);
	HAL_Delay(500);  // TODO: need to fine-tune this delay
}

/**
  * @brief Turn-off the Cavli C16QS LTE module
  * @param None
  * @retval None
  */
void LTE_c16qs_TurnOff(void)
{
	HAL_GPIO_WritePin(GSM_PWR_CKT_GPIO_Port, GSM_PWR_CKT_Pin, GPIO_PIN_SET);
}
/*
// Function to enable the chip select (CS)
void SRAM_Select(void) {
    //HAL_GPIO_WritePin(SRAM_CS1_GPIO_Port, SRAM_CS1_Pin, GPIO_PIN_RESET);	// Pull the NSS Pin Low, to start SPI Communication
    HAL_GPIO_WritePin(SRAM_CS2_GPIO_Port, SRAM_CS2_Pin, GPIO_PIN_RESET);	// Pull the NSS Pin Low, to start SPI Communication
}

// Function to disable the chip select (CS)
void SRAM_Deselect(void) {
	//HAL_GPIO_WritePin(SRAM_CS1_GPIO_Port, SRAM_CS1_Pin, GPIO_PIN_SET);	// Setting the NSS Pin High, by default (NSS Pin is Active Low)
	HAL_GPIO_WritePin(SRAM_CS2_GPIO_Port, SRAM_CS2_Pin, GPIO_PIN_SET);	// Setting the NSS Pin High, by default (NSS Pin is Active Low)
}

// Function to write data to SRAM
void SRAM_Write(uint32_t address, uint8_t *data, uint16_t length) {
    uint8_t addr_buf[3];
    addr_buf[0] = (address >> 16) & 0xFF;
    addr_buf[1] = (address >> 8) & 0xFF;
    addr_buf[2] = address & 0xFF;

    SRAM_Select();

    uint8_t command = SRAM_WRITE;
    HAL_SPI_Transmit(&hspi1, &command, 1, HAL_MAX_DELAY);
    HAL_SPI_Transmit(&hspi1, addr_buf, 3, HAL_MAX_DELAY);
    HAL_SPI_Transmit(&hspi1, data, length, HAL_MAX_DELAY);

    SRAM_Deselect();
    /*char buffer[50];
    snprintf(buffer, sizeof(buffer), "data: %ld\n", pressure_lo);
    HAL_UART_Transmit(&huart1, (uint8_t*)buffer, strlen(buffer), HAL_MAX_DELAY);
}

// Function to read data from SRAM
void SRAM_Read(uint32_t address, uint8_t *data, uint16_t length) {
    uint8_t addr_buf[3];
    addr_buf[0] = (address >> 16) & 0xFF;
    addr_buf[1] = (address >> 8) & 0xFF;
    addr_buf[2] = address & 0xFF;

    SRAM_Select();

    uint8_t command = SRAM_READ;
    HAL_SPI_Transmit(&hspi1, &command, 1, HAL_MAX_DELAY);
    HAL_SPI_Transmit(&hspi1, addr_buf, 3, HAL_MAX_DELAY);
    HAL_SPI_Receive(&hspi1, data, length, HAL_MAX_DELAY);

    SRAM_Deselect();
    char buffer[length];
    snprintf(buffer, sizeof(buffer), "data: %ld\n", data);
    HAL_UART_Transmit(&huart1, (uint8_t*)buffer, strlen(buffer), HAL_MAX_DELAY);
}
*/
/* USER CODE END 4 */

void Error_Handler(void)
{
  __disable_irq();
  while (1)
  {
  }
}
